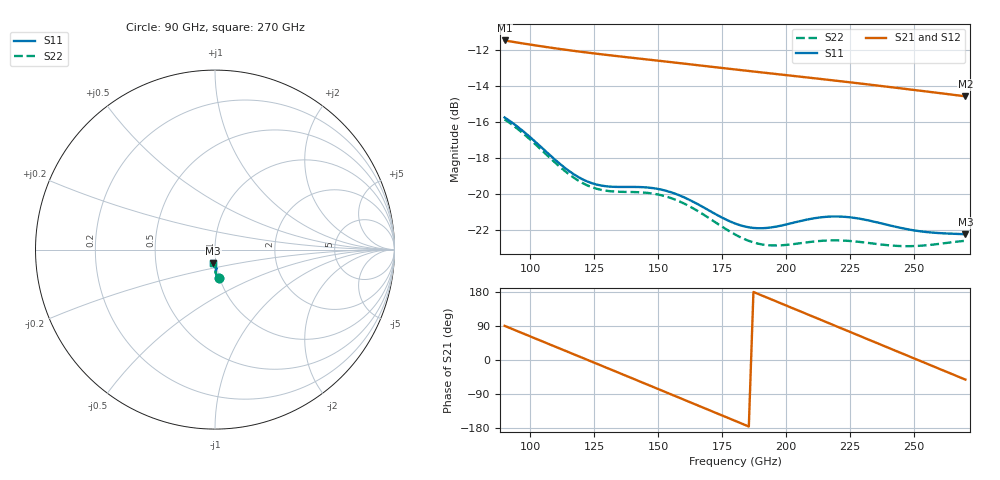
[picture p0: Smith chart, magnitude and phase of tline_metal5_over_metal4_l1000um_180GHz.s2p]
#  GHZ S DB R 50
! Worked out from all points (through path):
!   101 points, 90 GHz to 270 GHz, reference 50 ohm
!   highest |S21| = -11.50 dB at 90 GHz (marker M1); lowest = -14.6 dB at 270 GHz (marker M2)
!   group delay of S21, straight-line fit = 7.75 ps
!   lowest |S11| = -22.3 dB at 270 GHz (marker M3), VSWR 1.17, Z = 48.4 - j7.44 ohm
!   |S11| at or under -10 dB: start of sweep to end of sweep
!   |S22| runs from -22.9 to -15.9 dB; largest |S21 - S12| = 2.4e-13
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90  -15.77 -81.2  -11.50 90.1  -11.50 90.1  -15.88 -81.1
97.2  -16.53 -85.1  -11.66 70.1  -11.66 70.1  -16.65 -85.1
106.2  -17.66 -88.0  -11.86 45.1  -11.86 45.1  -17.81 -88.2
113.4  -18.55 -88.1  -12.01 25.2  -12.01 25.2  -18.73 -88.5
120.6  -19.21 -86.7  -12.14 5.2  -12.14 5.2  -19.42 -87.1
127.8  -19.55 -84.9  -12.26 -14.8  -12.26 -14.8  -19.79 -85.4
135  -19.63 -84.1  -12.38 -34.8  -12.38 -34.8  -19.89 -84.7
144  -19.64 -85.3  -12.53 -59.9  -12.53 -59.9  -19.93 -86.2
151.2  -19.77 -87.6  -12.64 -80.0  -12.64 -80.0  -20.09 -88.8
163.8  -20.46 -91.6  -12.84 -115.2  -12.84 -115.2  -20.82 -93.6
172.8  -21.16 -92.4  -12.99 -140.3  -12.99 -140.3  -21.63 -95.2
180  -21.65 -91.2  -13.11 -160.4  -13.11 -160.4  -22.26 -94.6
187.2  -21.90 -89.0  -13.22 179.5  -13.22 179.5  -22.70 -92.7
194.4  -21.87 -87.1  -13.33 159.4  -13.33 159.4  -22.87 -90.5
203.4  -21.59 -86.5  -13.47 134.3  -13.47 134.3  -22.79 -88.9
210.6  -21.37 -87.7  -13.59 114.2  -13.59 114.2  -22.66 -89.1
217.8  -21.27 -89.8  -13.70 94.0  -13.70 94.0  -22.59 -90.2
225  -21.31 -92.2  -13.82 73.9  -13.82 73.9  -22.63 -91.6
241.2  -21.78 -95.9  -14.09 28.7  -14.09 28.7  -22.88 -93.5
248.4  -22.00 -96.5  -14.22 8.6  -14.22 8.6  -22.91 -93.8
255.6  -22.14 -96.7  -14.34 -11.5  -14.34 -11.5  -22.85 -94.2
270  -22.25 -97.9  -14.60 -51.7  -14.60 -51.7  -22.61 -97.0
